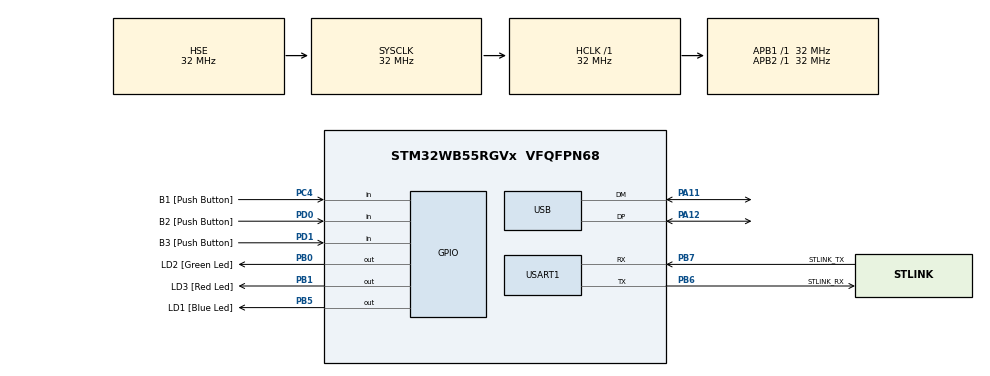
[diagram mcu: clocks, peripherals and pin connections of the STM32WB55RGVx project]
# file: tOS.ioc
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Mcu.Family=STM32WB
Mcu.Name=STM32WB55RGVx
Mcu.Package=VFQFPN68
NVIC.PriorityGroup=NVIC_PRIORITYGROUP_4
OSC_IN.Mode=HSE-External-Oscillator
OSC_IN.Signal=RCC_OSC_IN
OSC_OUT.Mode=HSE-External-Oscillator
OSC_OUT.Signal=RCC_OSC_OUT
PA11.Mode=Device
PA11.Signal=USB_DM
PA12.Mode=Device
PA12.Signal=USB_DP
PA13.GPIO_Label=JTMS
PA13.Mode=Trace_Asynchronous_SW
PA13.Signal=SYS_JTMS-SWDIO
PA14.GPIO_Label=JTCK
PA14.Mode=Trace_Asynchronous_SW
PA14.Signal=SYS_JTCK-SWCLK
PB0.GPIO_Label=LD2 [Green Led]
PB0.Signal=GPIO_Output
PB1.GPIO_Label=LD3 [Red Led]
PB1.Signal=GPIO_Output
PB3.GPIO_Label=JTDO
PB3.Mode=Trace_Asynchronous_SW
PB3.Signal=SYS_JTDO-SWO
PB5.GPIO_Label=LD1 [Blue Led]
PB5.Signal=GPIO_Output
PB6.GPIO_Label=STLINK_RX
PB6.Mode=Asynchronous
PB6.Signal=USART1_TX
PB7.GPIO_Label=STLINK_TX
PB7.Mode=Asynchronous
PB7.Signal=USART1_RX
PC13.Signal=SYS_WKUP2
PC14-OSC32_IN.Mode=LSE-External-Oscillator
PC14-OSC32_IN.Signal=RCC_OSC32_IN
PC15-OSC32_OUT.Mode=LSE-External-Oscillator
PC15-OSC32_OUT.Signal=RCC_OSC32_OUT
PC4.GPIO_Label=B1 [Push Button]
PC4.Signal=GPIO_Input
PD0.GPIO_Label=B2 [Push Button]
PD0.Signal=GPIO_Input
PD1.GPIO_Label=B3 [Push Button]
PD1.Signal=GPIO_Input
ProjectManager.HeapSize=0x200
ProjectManager.StackSize=0x400
ProjectManager.TargetToolchain=STM32CubeIDE
RCC.ADCFreq_Value=48000000
RCC.AHBFreq_Value=32000000
RCC.APB1Freq_Value=32000000
RCC.APB1TimFreq_Value=32000000
RCC.APB2Freq_Value=32000000
RCC.APB2TimFreq_Value=32000000
RCC.APB3Freq_Value=16000000
RCC.CortexFreq_Value=32000000
RCC.HCLKFreq_Value=32000000
RCC.HSE_VALUE=32000000
RCC.HSI48_VALUE=48000000
RCC.HSI_VALUE=16000000
RCC.PLLN=32
RCC.PLLSAI1N=24
RCC.SMPSCLockSelectionVirtual=RCC_SMPSCLKSOURCE_HSI
RCC.SYSCLKFreq_VALUE=32000000
RCC.SYSCLKSource=RCC_SYSCLKSOURCE_HSE
RCC.USBFreq_Value=48000000
RCC.VCOOutputFreq_Value=128000000
USART1.VirtualMode-Asynchronous=VM_ASYNC
board=P-NUCLEO-WB55-Nucleo

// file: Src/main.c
/* USER CODE BEGIN Header */
/**
  ******************************************************************************
  * @file           : main.c
  * @brief          : Main program body
  ******************************************************************************
  * @attention
  *
  * <h2><center>&copy; Copyright (c) 2019 STMicroelectronics.
  * All rights reserved.</center></h2>
  *
  * This software component is licensed by ST under BSD 3-Clause license,
  * the "License"; You may not use this file except in compliance with the
  * License. You may obtain a copy of the License at:
  *                        opensource.org/licenses/BSD-3-Clause
  *
  ******************************************************************************
  */
/* USER CODE END Header */

#include "main.h"

/* USER CODE BEGIN Includes */
#include "machines.h"

/* USER CODE END Includes */

UART_HandleTypeDef huart1;

PCD_HandleTypeDef hpcd_USB_FS;

void SystemClock_Config(void);
static void MX_GPIO_Init(void);
static void MX_USART1_UART_Init(void);
static void MX_USB_PCD_Init(void);
/* USER CODE BEGIN PFP */
#define CONSOLE USART1
HAL_StatusTypeDef HAL_UART_Transmit(UART_HandleTypeDef *huart, uint8_t *pData, uint16_t Size, uint32_t Timeout);
HAL_StatusTypeDef HAL_UART_Receive(UART_HandleTypeDef *huart, uint8_t *pData, uint16_t Size, uint32_t Timeout);

/* USER CODE END PFP */

/* USER CODE BEGIN 0 */
// reading time
Long getTime(void)
{
	return HAL_GetTick();
}

void timeevent_IRQ();

void runTimeEvents() { timeevent_IRQ(); later(runTimeEvents); }

void blueOn()  { HAL_GPIO_WritePin(GPIOB, LD1_Pin, GPIO_PIN_SET); }
void blueOff() { HAL_GPIO_WritePin(GPIOB, LD1_Pin, GPIO_PIN_RESET); }

static void imAlive() {
    static Byte current = 0;
    static struct {
		 Long time;  void (*action)(void); Byte next;
		} ledState[] = {
		{10, 	blueOn,	 1},
		{190,	blueOff, 2},
		{10,	blueOn,	 3},
		{790,	blueOff, 0}};

    ledState[current].action();
	after(ledState[current].time, imAlive);
	current = ledState[current].next;
}

/* USER CODE END 0 */

int main(void)
{

  /* MCU Configuration--------------------------------------------------------*/

  /* Reset of all peripherals, Initializes the Flash interface and the Systick. */
  HAL_Init();

  /* Configure the system clock */
  SystemClock_Config();

  /* Initialize all configured peripherals */
  MX_GPIO_Init();
  MX_USART1_UART_Init();
  MX_USB_PCD_Init();
  /* USER CODE BEGIN 2 */
  initMachines();
  later(runTimeEvents);
  /* USER CODE END 2 */

  /* Infinite loop */
  /* USER CODE BEGIN WHILE */
  later(imAlive);
  while (1)
  {
	  runMachines();
    /* USER CODE END WHILE */

  }
}

void SystemClock_Config(void)
{
  RCC_OscInitTypeDef RCC_OscInitStruct = {0};
  RCC_ClkInitTypeDef RCC_ClkInitStruct = {0};
  RCC_PeriphCLKInitTypeDef PeriphClkInitStruct = {0};

  /** Macro to configure the PLL multiplication factor
  */
  __HAL_RCC_PLL_PLLM_CONFIG(RCC_PLLM_DIV1);
  /** Macro to configure the PLL clock source
  */
  __HAL_RCC_PLL_PLLSOURCE_CONFIG(RCC_PLLSOURCE_MSI);
  /** Configure LSE Drive Capability
  */
  __HAL_RCC_LSEDRIVE_CONFIG(RCC_LSEDRIVE_LOW);
  /** Configure the main internal regulator output voltage
  */
  __HAL_PWR_VOLTAGESCALING_CONFIG(PWR_REGULATOR_VOLTAGE_SCALE1);
  /** Initializes the CPU, AHB and APB busses clocks
  */
  RCC_OscInitStruct.OscillatorType = RCC_OSCILLATORTYPE_HSI|RCC_OSCILLATORTYPE_HSE
                              |RCC_OSCILLATORTYPE_LSE|RCC_OSCILLATORTYPE_MSI;
  RCC_OscInitStruct.HSEState = RCC_HSE_ON;
  RCC_OscInitStruct.LSEState = RCC_LSE_ON;
  RCC_OscInitStruct.HSIState = RCC_HSI_ON;
  RCC_OscInitStruct.MSIState = RCC_MSI_ON;
  RCC_OscInitStruct.HSICalibrationValue = RCC_HSICALIBRATION_DEFAULT;
  RCC_OscInitStruct.MSICalibrationValue = RCC_MSICALIBRATION_DEFAULT;
  RCC_OscInitStruct.MSIClockRange = RCC_MSIRANGE_6;
  RCC_OscInitStruct.PLL.PLLState = RCC_PLL_NONE;
  if (HAL_RCC_OscConfig(&RCC_OscInitStruct) != HAL_OK)
  {
    Error_Handler();
  }
  /** Configure the SYSCLKSource, HCLK, PCLK1 and PCLK2 clocks dividers
  */
  RCC_ClkInitStruct.ClockType = RCC_CLOCKTYPE_HCLK4|RCC_CLOCKTYPE_HCLK2
                              |RCC_CLOCKTYPE_HCLK|RCC_CLOCKTYPE_SYSCLK
                              |RCC_CLOCKTYPE_PCLK1|RCC_CLOCKTYPE_PCLK2;
  RCC_ClkInitStruct.SYSCLKSource = RCC_SYSCLKSOURCE_HSE;
  RCC_ClkInitStruct.AHBCLKDivider = RCC_SYSCLK_DIV1;
  RCC_ClkInitStruct.APB1CLKDivider = RCC_HCLK_DIV1;
  RCC_ClkInitStruct.APB2CLKDivider = RCC_HCLK_DIV1;
  RCC_ClkInitStruct.AHBCLK2Divider = RCC_SYSCLK_DIV1;
  RCC_ClkInitStruct.AHBCLK4Divider = RCC_SYSCLK_DIV1;

  if (HAL_RCC_ClockConfig(&RCC_ClkInitStruct, FLASH_LATENCY_1) != HAL_OK)
  {
    Error_Handler();
  }
  /** Initializes the peripherals clocks
  */
  PeriphClkInitStruct.PeriphClockSelection = RCC_PERIPHCLK_SMPS|RCC_PERIPHCLK_USART1
                              |RCC_PERIPHCLK_USB;
  PeriphClkInitStruct.PLLSAI1.PLLN = 24;
  PeriphClkInitStruct.PLLSAI1.PLLP = RCC_PLLP_DIV2;
  PeriphClkInitStruct.PLLSAI1.PLLQ = RCC_PLLQ_DIV2;
  PeriphClkInitStruct.PLLSAI1.PLLR = RCC_PLLR_DIV2;
  PeriphClkInitStruct.PLLSAI1.PLLSAI1ClockOut = RCC_PLLSAI1_USBCLK;
  PeriphClkInitStruct.Usart1ClockSelection = RCC_USART1CLKSOURCE_PCLK2;
  PeriphClkInitStruct.UsbClockSelection = RCC_USBCLKSOURCE_PLLSAI1;
  PeriphClkInitStruct.SmpsClockSelection = RCC_SMPSCLKSOURCE_HSI;
  PeriphClkInitStruct.SmpsDivSelection = RCC_SMPSCLKDIV_RANGE1;

  if (HAL_RCCEx_PeriphCLKConfig(&PeriphClkInitStruct) != HAL_OK)
  {
    Error_Handler();
  }
  /** Enable MSI Auto calibration
  */
  HAL_RCCEx_EnableMSIPLLMode();
}

static void MX_USART1_UART_Init(void)
{

  huart1.Instance = USART1;
  huart1.Init.BaudRate = 115200;
  huart1.Init.WordLength = UART_WORDLENGTH_7B;
  huart1.Init.StopBits = UART_STOPBITS_1;
  huart1.Init.Parity = UART_PARITY_NONE;
  huart1.Init.Mode = UART_MODE_TX_RX;
  huart1.Init.HwFlowCtl = UART_HWCONTROL_NONE;
  huart1.Init.OverSampling = UART_OVERSAMPLING_16;
  huart1.Init.OneBitSampling = UART_ONE_BIT_SAMPLE_DISABLE;
  huart1.Init.ClockPrescaler = UART_PRESCALER_DIV1;
  huart1.AdvancedInit.AdvFeatureInit = UART_ADVFEATURE_NO_INIT;
  if (HAL_UART_Init(&huart1) != HAL_OK)
  {
    Error_Handler();
  }
  if (HAL_UARTEx_SetTxFifoThreshold(&huart1, UART_TXFIFO_THRESHOLD_1_8) != HAL_OK)
  {
    Error_Handler();
  }
  if (HAL_UARTEx_SetRxFifoThreshold(&huart1, UART_RXFIFO_THRESHOLD_1_8) != HAL_OK)
  {
    Error_Handler();
  }
  if (HAL_UARTEx_DisableFifoMode(&huart1) != HAL_OK)
  {
    Error_Handler();
  }

}

static void MX_USB_PCD_Init(void)
{

  hpcd_USB_FS.Instance = USB;
  hpcd_USB_FS.Init.dev_endpoints = 8;
  hpcd_USB_FS.Init.speed = PCD_SPEED_FULL;
  hpcd_USB_FS.Init.phy_itface = PCD_PHY_EMBEDDED;
  hpcd_USB_FS.Init.Sof_enable = DISABLE;
  hpcd_USB_FS.Init.low_power_enable = DISABLE;
  hpcd_USB_FS.Init.lpm_enable = DISABLE;
  hpcd_USB_FS.Init.battery_charging_enable = DISABLE;
  if (HAL_PCD_Init(&hpcd_USB_FS) != HAL_OK)
  {
    Error_Handler();
  }

}

static void MX_GPIO_Init(void)
{
  GPIO_InitTypeDef GPIO_InitStruct = {0};

  /* GPIO Ports Clock Enable */
  __HAL_RCC_GPIOC_CLK_ENABLE();
  __HAL_RCC_GPIOB_CLK_ENABLE();
  __HAL_RCC_GPIOA_CLK_ENABLE();
  __HAL_RCC_GPIOD_CLK_ENABLE();

  /*Configure GPIO pin Output Level */
  HAL_GPIO_WritePin(GPIOB, LD2_Pin|LD3_Pin|LD1_Pin, GPIO_PIN_RESET);

  /*Configure GPIO pin : B1_Pin */
  GPIO_InitStruct.Pin = B1_Pin;
  GPIO_InitStruct.Mode = GPIO_MODE_INPUT;
  GPIO_InitStruct.Pull = GPIO_NOPULL;
  HAL_GPIO_Init(B1_GPIO_Port, &GPIO_InitStruct);

  /*Configure GPIO pins : LD2_Pin LD3_Pin LD1_Pin */
  GPIO_InitStruct.Pin = LD2_Pin|LD3_Pin|LD1_Pin;
  GPIO_InitStruct.Mode = GPIO_MODE_OUTPUT_PP;
  GPIO_InitStruct.Pull = GPIO_NOPULL;
  GPIO_InitStruct.Speed = GPIO_SPEED_FREQ_LOW;
  HAL_GPIO_Init(GPIOB, &GPIO_InitStruct);

  /*Configure GPIO pins : B2_Pin B3_Pin */
  GPIO_InitStruct.Pin = B2_Pin|B3_Pin;
  GPIO_InitStruct.Mode = GPIO_MODE_INPUT;
  GPIO_InitStruct.Pull = GPIO_NOPULL;
  HAL_GPIO_Init(GPIOD, &GPIO_InitStruct);

}

void Error_Handler(void)
{
}

/************************ (C) COPYRIGHT STMicroelectronics *****END OF FILE****/
